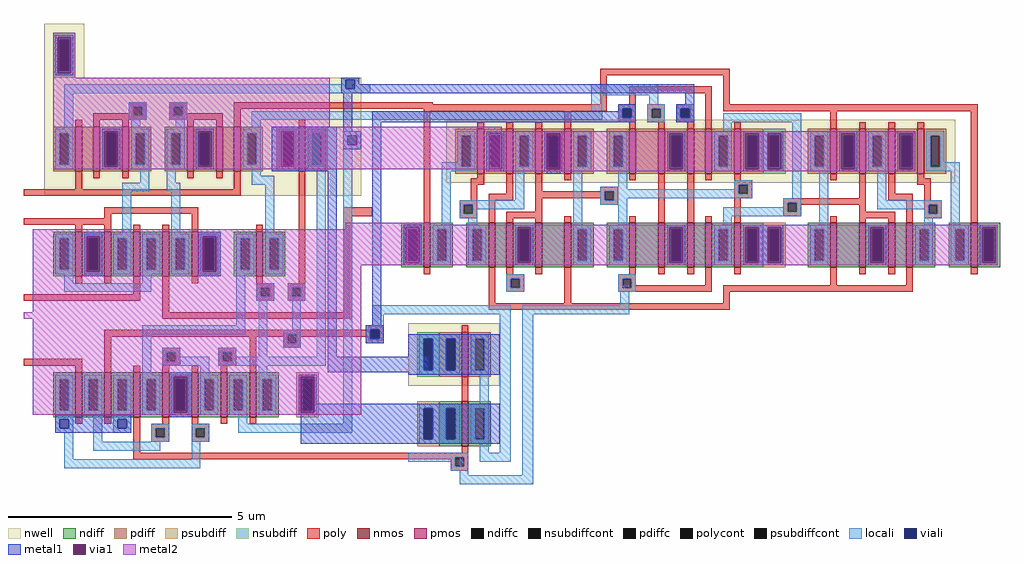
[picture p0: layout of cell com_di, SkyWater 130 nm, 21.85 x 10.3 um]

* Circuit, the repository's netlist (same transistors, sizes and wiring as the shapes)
* NGSPICE file created from com_di.ext - technology: sky130A

.subckt inverter VP A VN Y
X0 Y A VP VP sky130_fd_pr__pfet_01v8 ad=0.5 pd=3 as=0.5 ps=3 w=1 l=0.15
X1 Y A VN VN sky130_fd_pr__nfet_01v8 ad=0.5 pd=3 as=0.5 ps=3 w=1 l=0.15
.ends

.subckt digital w_n140_380# a_890_650# a_n340_0# a_760_650# a_630_650# a_n240_n30#
+ a_630_n110#
X0 a_710_420# a_630_650# a_130_n110# w_n140_380# sky130_fd_pr__pfet_01v8 ad=0.25 pd=1.5 as=0.5 ps=3 w=1 l=0.15
X1 a_1740_420# a_50_n190# a_1870_0# a_n340_0# sky130_fd_pr__nfet_01v8 ad=0.5 pd=3 as=0.125 ps=1.25 w=1 l=0.15
X2 a_n340_0# a_130_n110# a_80_0# a_n340_0# sky130_fd_pr__nfet_01v8 ad=0.25 pd=1.5 as=0.125 ps=1.25 w=1 l=0.15
X3 a_1610_0# a_50_n190# a_1480_0# a_n340_0# sky130_fd_pr__nfet_01v8 ad=0.25 pd=1.5 as=0.5 ps=3 w=1 l=0.15
X4 a_970_420# a_890_650# w_n140_380# w_n140_380# sky130_fd_pr__pfet_01v8 ad=0.125 pd=1.25 as=0.25 ps=1.5 w=1 l=0.15
X5 a_290_0# a_130_n110# a_n340_0# a_n340_0# sky130_fd_pr__nfet_01v8 ad=0.25 pd=1.5 as=0.25 ps=1.5 w=1 l=0.15
X6 w_n140_380# a_760_650# a_710_420# w_n140_380# sky130_fd_pr__pfet_01v8 ad=0.25 pd=1.5 as=0.25 ps=1.5 w=1 l=0.15
X7 a_420_0# a_50_n190# a_290_0# a_n340_0# sky130_fd_pr__nfet_01v8 ad=0.5 pd=3 as=0.25 ps=1.5 w=1 l=0.15
X8 a_80_0# a_50_n190# a_n80_220# a_n340_0# sky130_fd_pr__nfet_01v8 ad=0.125 pd=1.25 as=0.5 ps=3 w=1 l=0.15
X9 w_n140_380# a_130_n110# a_1050_0# w_n140_380# sky130_fd_pr__pfet_01v8 ad=0.5 pd=3 as=0.25 ps=1.5 w=1 l=0.15
X10 w_n140_380# a_n240_n30# a_1480_0# w_n140_380# sky130_fd_pr__pfet_01v8 ad=0.25 pd=1.5 as=0.5 ps=3 w=1 l=0.15
X11 a_n340_0# a_760_650# a_710_0# a_n340_0# sky130_fd_pr__nfet_01v8 ad=0.25 pd=1.5 as=0.25 ps=1.5 w=1 l=0.15
X12 a_1050_0# a_630_n110# a_970_0# a_n340_0# sky130_fd_pr__nfet_01v8 ad=0.25 pd=1.5 as=0.125 ps=1.25 w=1 l=0.15
X13 a_1050_0# a_630_650# a_970_420# w_n140_380# sky130_fd_pr__pfet_01v8 ad=0.25 pd=1.5 as=0.125 ps=1.25 w=1 l=0.15
X14 a_2000_420# a_1740_420# w_n140_380# w_n140_380# sky130_fd_pr__pfet_01v8 ad=0.5 pd=3 as=0.25 ps=1.5 w=1 l=0.15
X15 a_970_0# a_890_650# a_n340_0# a_n340_0# sky130_fd_pr__nfet_01v8 ad=0.125 pd=1.25 as=0.25 ps=1.5 w=1 l=0.15
X16 a_n340_0# a_130_n110# a_1050_0# a_n340_0# sky130_fd_pr__nfet_01v8 ad=0.5 pd=3 as=0.25 ps=1.5 w=1 l=0.15
X17 w_n140_380# a_n80_220# a_n210_0# w_n140_380# sky130_fd_pr__pfet_01v8 ad=0.25 pd=1.5 as=0.5 ps=3 w=1 l=0.15
X18 w_n140_380# a_50_n190# a_1740_420# w_n140_380# sky130_fd_pr__pfet_01v8 ad=0.25 pd=1.5 as=0.25 ps=1.5 w=1 l=0.15
X19 a_n340_0# a_n240_n30# a_2000_420# a_n340_0# sky130_fd_pr__nfet_01v8 ad=0.5 pd=3 as=0.5 ps=3 w=1 l=0.15
X20 a_1740_420# a_1050_0# w_n140_380# w_n140_380# sky130_fd_pr__pfet_01v8 ad=0.25 pd=1.5 as=0.25 ps=1.5 w=1 l=0.15
X21 a_420_0# a_n240_n30# w_n140_380# w_n140_380# sky130_fd_pr__pfet_01v8 ad=0.5 pd=3 as=0.25 ps=1.5 w=1 l=0.15
X22 a_n340_0# a_1050_0# a_1610_0# a_n340_0# sky130_fd_pr__nfet_01v8 ad=0.25 pd=1.5 as=0.25 ps=1.5 w=1 l=0.15
X23 w_n140_380# a_130_n110# a_n80_220# w_n140_380# sky130_fd_pr__pfet_01v8 ad=0.25 pd=1.5 as=0.25 ps=1.5 w=1 l=0.15
X24 a_1870_0# a_1050_0# a_n340_0# a_n340_0# sky130_fd_pr__nfet_01v8 ad=0.125 pd=1.25 as=0.25 ps=1.5 w=1 l=0.15
X25 a_n80_220# a_50_n190# w_n140_380# w_n140_380# sky130_fd_pr__pfet_01v8 ad=0.25 pd=1.5 as=0.25 ps=1.5 w=1 l=0.15
X26 a_710_0# a_630_n110# a_130_n110# a_n340_0# sky130_fd_pr__nfet_01v8 ad=0.25 pd=1.5 as=0.5 ps=3 w=1 l=0.15
X27 a_n210_0# a_n240_n30# a_n340_0# a_n340_0# sky130_fd_pr__nfet_01v8 ad=0.5 pd=3 as=0.5 ps=3 w=1 l=0.15
.ends

.subckt comparator AIn RST ENAD CompOut Vb w_n180_660# a_90_n360# a_n270_660# a_n10_300#
+ a_700_770#
X0 a_40_740# Vb a_n10_300# a_n10_300# sky130_fd_pr__nfet_01v8 ad=0.25 pd=1.5 as=0.25 ps=1.5 w=1 l=0.15
X1 a_n10_300# a_n10_n330# a_250_n330# a_n10_300# sky130_fd_pr__nfet_01v8 ad=0.25 pd=1.5 as=0.25 ps=1.5 w=1 l=0.15
X2 a_700_770# a_600_n100# a_250_n330# a_n10_300# sky130_fd_pr__nfet_01v8 ad=0.5 pd=3 as=0.5 ps=3 w=1 l=0.15
X3 a_n10_770# a_n270_660# CompOut w_n180_660# sky130_fd_pr__pfet_01v8 ad=0.125 pd=1.25 as=0.5 ps=3 w=1 l=0.15
X4 a_600_n100# a_90_n360# w_n180_660# w_n180_660# sky130_fd_pr__pfet_01v8 ad=0.5 pd=3 as=0.5 ps=3 w=1 l=0.15
X5 a_250_n330# ENAD a_n140_n330# a_n10_300# sky130_fd_pr__nfet_01v8 ad=0.25 pd=1.5 as=0.25 ps=1.5 w=1 l=0.15
X6 a_n140_n330# a_90_n360# a_n10_n330# a_n10_300# sky130_fd_pr__nfet_01v8 ad=0.25 pd=1.5 as=0.25 ps=1.5 w=1 l=0.15
X7 a_40_740# a_40_740# w_n180_660# w_n180_660# sky130_fd_pr__pfet_01v8 ad=0.5 pd=3 as=0.25 ps=1.5 w=1 l=0.15
X8 a_600_n100# a_90_n360# CompOut a_n10_300# sky130_fd_pr__nfet_01v8 ad=0.5 pd=3 as=0.25 ps=1.5 w=1 l=0.15
X9 CompOut a_600_n100# a_n10_n330# a_n10_300# sky130_fd_pr__nfet_01v8 ad=0.25 pd=1.5 as=0.25 ps=1.5 w=1 l=0.15
X10 a_620_770# a_360_770# w_n180_660# w_n180_660# sky130_fd_pr__pfet_01v8 ad=0.125 pd=1.25 as=0.25 ps=1.5 w=1 l=0.15
X11 w_n180_660# a_360_770# a_360_770# w_n180_660# sky130_fd_pr__pfet_01v8 ad=0.25 pd=1.5 as=0.5 ps=3 w=1 l=0.15
X12 a_n10_300# Vb a_n140_300# a_n10_300# sky130_fd_pr__nfet_01v8 ad=0.25 pd=1.5 as=0.5 ps=3 w=1 l=0.15
X13 w_n180_660# a_40_740# a_n10_770# w_n180_660# sky130_fd_pr__pfet_01v8 ad=0.25 pd=1.5 as=0.125 ps=1.25 w=1 l=0.15
X14 a_n10_300# Vb a_360_770# a_n10_300# sky130_fd_pr__nfet_01v8 ad=0.5 pd=3 as=0.25 ps=1.5 w=1 l=0.15
X15 a_360_770# a_n270_110# a_n140_300# a_n10_300# sky130_fd_pr__nfet_01v8 ad=0.25 pd=1.5 as=0.25 ps=1.5 w=1 l=0.15
X16 a_n10_n330# RST a_n140_n330# a_n10_300# sky130_fd_pr__nfet_01v8 ad=0.25 pd=1.5 as=0.5 ps=3 w=1 l=0.15
X17 a_700_770# a_n270_660# a_620_770# w_n180_660# sky130_fd_pr__pfet_01v8 ad=0.5 pd=3 as=0.125 ps=1.25 w=1 l=0.15
X18 a_n140_300# AIn a_40_740# a_n10_300# sky130_fd_pr__nfet_01v8 ad=0.25 pd=1.5 as=0.25 ps=1.5 w=1 l=0.15
X19 a_n10_n330# a_n140_n330# a_n10_300# a_n10_300# sky130_fd_pr__nfet_01v8 ad=0.25 pd=1.5 as=0.25 ps=1.5 w=1 l=0.15
.ends


* Top level circuit com_di

Xinverter_0 inverter_0/VP inverter_0/A VSUBS inverter_0/Y inverter
Xdigital_0 inverter_0/VP comparator_0/CompOut VSUBS li_n200_840# inverter_0/Y a_n210_890#
+ inverter_0/A digital
Xcomparator_0 comparator_0/AIn comparator_0/RST inverter_0/A comparator_0/CompOut
+ comparator_0/Vb inverter_0/VP inverter_0/Y a_n210_890# VSUBS li_n200_840# comparator
.end

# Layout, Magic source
magic
tech sky130A
<< poly >>
rect -105 445 60 460
rect 40 440 60 445
rect -145 -340 125 -325
<< locali >>
rect 415 475 565 500
rect 415 440 440 475
rect 545 450 565 475
rect -100 420 440 440
rect 480 5 500 50
rect -75 -15 235 5
rect -75 -50 -50 -15
rect -60 -55 -50 -50
rect 210 -325 235 -15
rect 120 -375 140 -325
rect 185 -345 235 -325
rect 260 -15 500 5
rect 260 -375 285 -15
rect 120 -395 285 -375
<< viali >>
rect 485 425 505 445
rect 615 425 635 445
rect -80 -70 -60 -50
<< metal1 >>
rect -120 480 645 500
rect 625 455 645 480
rect 475 445 515 455
rect 475 440 485 445
rect -75 425 485 440
rect 505 425 515 445
rect -75 415 515 425
rect 605 445 645 455
rect 605 425 615 445
rect 635 425 645 445
rect 605 415 645 425
rect -300 305 -155 405
rect -175 -110 -155 305
rect -75 -40 -55 415
rect 180 305 210 385
rect 315 300 345 390
rect -90 -50 -50 -40
rect -90 -70 -80 -50
rect -60 -70 -50 -50
rect 180 -65 210 -60
rect -90 -80 -50 -70
rect -175 -145 50 -110
rect 195 -150 210 -65
rect -235 -215 -200 -150
rect -235 -305 15 -215
<< metal2 >>
rect -295 310 215 405
rect -135 95 65 190
use comparator  comparator_0
transform 1 0 -720 0 1 -80
box -135 -280 670 715
use digital  digital_0
transform 1 0 160 0 1 90
box -170 -95 1170 445
use inverter  inverter_0
transform 1 0 125 0 1 -310
box -120 -55 85 275
<< end >>

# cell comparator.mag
magic
tech sky130A
<< nwell >>
rect -90 595 0 715
rect -90 330 620 595
<< nmos >>
rect -20 150 -5 250
rect 45 150 60 250
rect 110 150 125 250
rect 175 150 190 250
rect 240 150 255 250
rect 385 150 400 250
rect -20 -165 -5 -65
rect 45 -165 60 -65
rect 110 -165 125 -65
rect 175 -165 190 -65
rect 240 -165 255 -65
rect 305 -165 320 -65
rect 370 -165 385 -65
<< pmos >>
rect -20 385 -5 485
rect 20 385 35 485
rect 85 385 100 485
rect 230 385 245 485
rect 295 385 310 485
rect 335 385 350 485
rect 480 385 495 485
<< ndiff >>
rect -70 235 -20 250
rect -70 165 -55 235
rect -35 165 -20 235
rect -70 150 -20 165
rect -5 235 45 250
rect -5 165 10 235
rect 30 165 45 235
rect -5 150 45 165
rect 60 235 110 250
rect 60 165 75 235
rect 95 165 110 235
rect 60 150 110 165
rect 125 235 175 250
rect 125 165 140 235
rect 160 165 175 235
rect 125 150 175 165
rect 190 235 240 250
rect 190 165 205 235
rect 225 165 240 235
rect 190 150 240 165
rect 255 235 305 250
rect 255 165 270 235
rect 290 165 305 235
rect 255 150 305 165
rect 335 235 385 250
rect 335 165 350 235
rect 370 165 385 235
rect 335 150 385 165
rect 400 235 450 250
rect 400 165 415 235
rect 435 165 450 235
rect 400 150 450 165
rect -70 -80 -20 -65
rect -70 -150 -55 -80
rect -35 -150 -20 -80
rect -70 -165 -20 -150
rect -5 -80 45 -65
rect -5 -150 10 -80
rect 30 -150 45 -80
rect -5 -165 45 -150
rect 60 -80 110 -65
rect 60 -150 75 -80
rect 95 -150 110 -80
rect 60 -165 110 -150
rect 125 -80 175 -65
rect 125 -150 140 -80
rect 160 -150 175 -80
rect 125 -165 175 -150
rect 190 -80 240 -65
rect 190 -150 205 -80
rect 225 -150 240 -80
rect 190 -165 240 -150
rect 255 -80 305 -65
rect 255 -150 270 -80
rect 290 -150 305 -80
rect 255 -165 305 -150
rect 320 -80 370 -65
rect 320 -150 335 -80
rect 355 -150 370 -80
rect 320 -165 370 -150
rect 385 -80 435 -65
rect 385 -150 400 -80
rect 420 -150 435 -80
rect 385 -165 435 -150
<< pdiff >>
rect -70 470 -20 485
rect -70 400 -55 470
rect -35 400 -20 470
rect -70 385 -20 400
rect -5 385 20 485
rect 35 470 85 485
rect 35 400 50 470
rect 70 400 85 470
rect 35 385 85 400
rect 100 470 150 485
rect 100 400 115 470
rect 135 400 150 470
rect 100 385 150 400
rect 180 470 230 485
rect 180 400 195 470
rect 215 400 230 470
rect 180 385 230 400
rect 245 470 295 485
rect 245 400 260 470
rect 280 400 295 470
rect 245 385 295 400
rect 310 385 335 485
rect 350 470 400 485
rect 350 400 365 470
rect 385 400 400 470
rect 350 385 400 400
rect 430 470 480 485
rect 430 400 445 470
rect 465 400 480 470
rect 430 385 480 400
rect 495 470 545 485
rect 495 400 510 470
rect 530 400 545 470
rect 495 385 545 400
<< ndiffc >>
rect -55 165 -35 235
rect 10 165 30 235
rect 75 165 95 235
rect 140 165 160 235
rect 205 165 225 235
rect 270 165 290 235
rect 350 165 370 235
rect 415 165 435 235
rect -55 -150 -35 -80
rect 10 -150 30 -80
rect 75 -150 95 -80
rect 140 -150 160 -80
rect 205 -150 225 -80
rect 270 -150 290 -80
rect 335 -150 355 -80
rect 400 -150 420 -80
<< pdiffc >>
rect -55 400 -35 470
rect 50 400 70 470
rect 115 400 135 470
rect 195 400 215 470
rect 260 400 280 470
rect 365 400 385 470
rect 445 400 465 470
rect 510 400 530 470
<< psubdiff >>
rect 475 -80 525 -65
rect 475 -150 490 -80
rect 510 -150 525 -80
rect 475 -165 525 -150
<< nsubdiff >>
rect -70 680 -20 695
rect -70 610 -55 680
rect -35 610 -20 680
rect -70 595 -20 610
<< psubdiffcont >>
rect 490 -150 510 -80
<< nsubdiffcont >>
rect -55 610 -35 680
<< poly >>
rect 100 530 140 540
rect 100 515 110 530
rect 20 510 110 515
rect 130 510 140 530
rect 20 500 140 510
rect 190 530 230 540
rect 190 510 200 530
rect 220 515 230 530
rect 335 525 640 540
rect 220 510 310 515
rect 190 500 310 510
rect -20 485 -5 500
rect 20 485 35 500
rect 85 485 100 500
rect 230 485 245 500
rect 295 485 310 500
rect 335 485 350 525
rect 480 485 495 500
rect -20 345 -5 385
rect 20 370 35 385
rect 85 370 100 385
rect 230 370 245 385
rect 295 370 310 385
rect 335 345 350 385
rect -135 330 350 345
rect 45 290 255 305
rect 45 280 60 290
rect -135 265 60 280
rect -20 250 -5 265
rect 45 250 60 265
rect 110 250 125 265
rect 175 250 190 265
rect 240 250 255 290
rect 385 250 400 265
rect -20 135 -5 150
rect 45 135 60 150
rect 110 110 125 150
rect -135 95 125 110
rect 175 70 190 150
rect 240 135 255 150
rect 385 135 400 150
rect 480 135 495 385
rect 385 125 425 135
rect 385 105 395 125
rect 415 105 425 125
rect 385 95 425 105
rect 455 125 495 135
rect 455 105 465 125
rect 485 105 495 125
rect 455 95 495 105
rect 580 285 645 305
rect 580 70 600 285
rect 175 55 600 70
rect 630 30 670 40
rect 45 20 640 30
rect 45 15 455 20
rect -135 -50 -5 -35
rect -20 -65 -5 -50
rect 45 -65 60 15
rect 175 -20 215 -10
rect 175 -40 185 -20
rect 205 -40 215 -20
rect 175 -50 215 -40
rect 300 -20 340 -10
rect 300 -40 310 -20
rect 330 -40 340 -20
rect 300 -50 340 -40
rect 110 -65 125 -50
rect 175 -65 190 -50
rect 240 -65 255 -50
rect 305 -65 320 -50
rect 370 -65 385 15
rect 445 0 455 15
rect 475 15 640 20
rect 475 0 485 15
rect 630 10 640 15
rect 660 10 670 30
rect 630 0 670 10
rect 445 -10 485 0
rect -20 -180 -5 -165
rect 45 -180 60 -165
rect 110 -245 125 -165
rect 175 -180 190 -165
rect 150 -190 190 -180
rect 150 -210 160 -190
rect 180 -210 190 -190
rect 150 -220 190 -210
rect 240 -180 255 -165
rect 305 -180 320 -165
rect 370 -180 385 -165
rect 240 -190 280 -180
rect 240 -210 250 -190
rect 270 -210 280 -190
rect 240 -220 280 -210
rect 110 -260 645 -245
<< polycont >>
rect 110 510 130 530
rect 200 510 220 530
rect 395 105 415 125
rect 465 105 485 125
rect 185 -40 205 -20
rect 310 -40 330 -20
rect 455 0 475 20
rect 640 10 660 30
rect 160 -210 180 -190
rect 250 -210 270 -190
<< locali >>
rect -65 680 -25 690
rect -65 610 -55 680
rect -35 610 -25 680
rect -65 600 -25 610
rect 575 590 615 595
rect 575 580 585 590
rect -45 570 585 580
rect 605 580 615 590
rect 605 570 640 580
rect -45 560 640 570
rect -45 480 -25 560
rect 100 530 140 540
rect 100 510 110 530
rect 130 510 140 530
rect 100 500 140 510
rect 190 530 230 540
rect 190 510 200 530
rect 220 510 230 530
rect 190 500 230 510
rect 375 500 640 520
rect 105 480 125 500
rect 205 480 225 500
rect 375 480 395 500
rect -65 470 -25 480
rect -65 400 -55 470
rect -35 400 -25 470
rect -65 390 -25 400
rect 40 470 80 480
rect 40 400 50 470
rect 70 400 80 470
rect 40 390 80 400
rect 105 470 145 480
rect 105 400 115 470
rect 135 400 145 470
rect 105 390 145 400
rect 125 360 145 390
rect 85 340 145 360
rect 185 470 225 480
rect 185 400 195 470
rect 215 400 225 470
rect 185 390 225 400
rect 250 470 290 480
rect 250 400 260 470
rect 280 400 290 470
rect 250 390 290 400
rect 355 470 395 480
rect 355 400 365 470
rect 385 400 395 470
rect 355 390 395 400
rect 435 470 475 480
rect 435 400 445 470
rect 465 400 475 470
rect 435 390 475 400
rect 500 470 540 480
rect 500 400 510 470
rect 530 400 540 470
rect 500 390 540 400
rect 185 360 205 390
rect 375 375 395 390
rect 185 340 215 360
rect 375 355 425 375
rect 85 245 105 340
rect 195 245 215 340
rect 405 245 425 355
rect -65 235 -25 245
rect -65 165 -55 235
rect -35 165 -25 235
rect -65 155 -25 165
rect 0 235 40 245
rect 0 165 10 235
rect 30 165 40 235
rect 0 155 40 165
rect 65 235 105 245
rect 65 165 75 235
rect 95 165 105 235
rect 65 155 105 165
rect 130 235 170 245
rect 130 165 140 235
rect 160 165 170 235
rect 130 155 170 165
rect 195 235 235 245
rect 195 165 205 235
rect 225 165 235 235
rect 195 155 235 165
rect 260 235 300 245
rect 260 165 270 235
rect 290 165 300 235
rect 260 155 300 165
rect 340 235 380 245
rect 340 165 350 235
rect 370 165 380 235
rect 340 155 380 165
rect 405 235 445 245
rect 405 165 415 235
rect 435 165 445 235
rect 405 155 445 165
rect -45 135 -25 155
rect 130 135 150 155
rect -45 115 150 135
rect 340 40 360 155
rect 385 125 425 135
rect 385 105 395 125
rect 415 105 425 125
rect 385 95 425 105
rect 455 125 495 135
rect 455 105 465 125
rect 485 105 495 125
rect 455 95 495 105
rect 130 20 360 40
rect 130 -70 150 20
rect 175 -20 215 -10
rect 175 -40 185 -20
rect 205 -30 215 -20
rect 300 -20 340 -10
rect 205 -40 280 -30
rect 175 -50 280 -40
rect 300 -40 310 -20
rect 330 -30 340 -20
rect 390 -30 410 95
rect 465 30 485 95
rect 445 20 485 30
rect 445 0 455 20
rect 475 0 485 20
rect 445 -10 485 0
rect 520 -30 540 390
rect 330 -40 540 -30
rect 300 -50 540 -40
rect 580 465 620 475
rect 580 445 590 465
rect 610 445 620 465
rect 580 435 620 445
rect 260 -70 280 -50
rect 390 -70 410 -50
rect -65 -80 -25 -70
rect -65 -150 -55 -80
rect -35 -150 -25 -80
rect -65 -170 -25 -150
rect 0 -80 40 -70
rect 0 -150 10 -80
rect 30 -150 40 -80
rect 0 -160 40 -150
rect -65 -190 -55 -170
rect -35 -190 -25 -170
rect -65 -200 -25 -190
rect -45 -260 -25 -200
rect 20 -220 40 -160
rect 65 -80 105 -70
rect 65 -150 75 -80
rect 95 -150 105 -80
rect 65 -170 105 -150
rect 130 -80 170 -70
rect 130 -150 140 -80
rect 160 -150 170 -80
rect 130 -160 170 -150
rect 195 -80 235 -70
rect 195 -150 205 -80
rect 225 -150 235 -80
rect 195 -160 235 -150
rect 260 -80 300 -70
rect 260 -150 270 -80
rect 290 -150 300 -80
rect 260 -160 300 -150
rect 325 -80 365 -70
rect 325 -150 335 -80
rect 355 -150 365 -80
rect 325 -160 365 -150
rect 390 -80 430 -70
rect 390 -150 400 -80
rect 420 -150 430 -80
rect 390 -160 430 -150
rect 480 -80 520 -70
rect 480 -150 490 -80
rect 510 -150 520 -80
rect 480 -160 520 -150
rect 65 -190 75 -170
rect 95 -190 105 -170
rect 345 -180 365 -160
rect 580 -180 600 435
rect 630 30 670 40
rect 630 10 640 30
rect 660 10 670 30
rect 630 0 670 10
rect 65 -200 105 -190
rect 150 -190 190 -180
rect 150 -210 160 -190
rect 180 -210 190 -190
rect 150 -220 190 -210
rect 240 -190 280 -180
rect 240 -210 250 -190
rect 270 -210 280 -190
rect 345 -200 600 -180
rect 240 -220 280 -210
rect 20 -240 170 -220
rect 240 -260 260 -220
rect -45 -280 260 -260
<< viali >>
rect -55 610 -35 680
rect 585 570 605 590
rect 50 400 70 470
rect 260 400 280 470
rect 445 400 465 470
rect 10 165 30 235
rect 270 165 290 235
rect 590 445 610 465
rect -55 -190 -35 -170
rect 205 -150 225 -80
rect 490 -150 510 -80
rect 75 -190 95 -170
<< metal1 >>
rect -65 685 -25 690
rect -65 605 -60 685
rect -30 605 -25 685
rect -65 600 -25 605
rect 575 590 615 595
rect 575 570 585 590
rect 605 570 615 590
rect 575 560 615 570
rect 40 475 80 480
rect 40 395 45 475
rect 75 395 80 475
rect 40 390 80 395
rect 250 475 290 480
rect 250 395 255 475
rect 285 395 290 475
rect 250 390 290 395
rect 435 475 475 480
rect 435 395 440 475
rect 470 395 475 475
rect 580 475 600 560
rect 580 465 620 475
rect 580 445 590 465
rect 610 445 620 465
rect 580 435 620 445
rect 435 390 475 395
rect 0 240 40 250
rect 0 160 5 240
rect 35 160 40 240
rect 0 150 40 160
rect 255 240 305 250
rect 255 160 265 240
rect 295 160 305 240
rect 255 150 305 160
rect 190 -75 240 -65
rect 190 -155 200 -75
rect 230 -155 240 -75
rect -65 -170 105 -160
rect 190 -165 240 -155
rect 480 -75 520 -70
rect 480 -155 485 -75
rect 515 -155 520 -75
rect 480 -160 520 -155
rect -65 -190 -55 -170
rect -35 -190 75 -170
rect 95 -190 105 -170
rect -65 -200 105 -190
<< via1 >>
rect -60 680 -30 685
rect -60 610 -55 680
rect -55 610 -35 680
rect -35 610 -30 680
rect -60 605 -30 610
rect 45 470 75 475
rect 45 400 50 470
rect 50 400 70 470
rect 70 400 75 470
rect 45 395 75 400
rect 255 470 285 475
rect 255 400 260 470
rect 260 400 280 470
rect 280 400 285 470
rect 255 395 285 400
rect 440 470 470 475
rect 440 400 445 470
rect 445 400 465 470
rect 465 400 470 470
rect 440 395 470 400
rect 5 235 35 240
rect 5 165 10 235
rect 10 165 30 235
rect 30 165 35 235
rect 5 160 35 165
rect 265 235 295 240
rect 265 165 270 235
rect 270 165 290 235
rect 290 165 295 235
rect 265 160 295 165
rect 200 -80 230 -75
rect 200 -150 205 -80
rect 205 -150 225 -80
rect 225 -150 230 -80
rect 200 -155 230 -150
rect 485 -80 515 -75
rect 485 -150 490 -80
rect 490 -150 510 -80
rect 510 -150 515 -80
rect 485 -155 515 -150
<< metal2 >>
rect -70 685 -20 695
rect -70 605 -60 685
rect -30 605 -20 685
rect -70 595 -20 605
rect -70 480 550 595
rect -70 475 545 480
rect -70 395 45 475
rect 75 395 255 475
rect 285 395 440 475
rect 470 395 545 475
rect -70 390 545 395
rect -115 240 620 255
rect -115 160 5 240
rect 35 160 265 240
rect 295 160 620 240
rect -115 70 620 160
rect -135 55 620 70
rect -115 -75 620 55
rect -115 -155 200 -75
rect 230 -155 485 -75
rect 515 -155 620 -75
rect -115 -160 620 -155
<< labels >>
rlabel poly -135 100 -135 100 7 AIn
port 1 w
rlabel poly -135 -45 -135 -45 7 RST
port 2 w
rlabel poly 645 -255 645 -255 3 ENAD
port 3 e
rlabel locali 640 570 640 570 3 CompOut
port 6 e
rlabel poly -135 270 -135 270 7 Vb
port 7 w
<< end >>

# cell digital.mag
magic
tech sky130A
<< nwell >>
rect -70 190 1070 330
<< nmos >>
rect -120 0 -105 100
rect 25 0 40 100
rect 65 0 80 100
rect 130 0 145 100
rect 195 0 210 100
rect 340 0 355 100
rect 405 0 420 100
rect 470 0 485 100
rect 510 0 525 100
rect 575 0 590 100
rect 790 0 805 100
rect 855 0 870 100
rect 920 0 935 100
rect 960 0 975 100
rect 1105 0 1120 100
<< pmos >>
rect 0 210 15 310
rect 65 210 80 310
rect 130 210 145 310
rect 195 210 210 310
rect 340 210 355 310
rect 405 210 420 310
rect 470 210 485 310
rect 510 210 525 310
rect 575 210 590 310
rect 790 210 805 310
rect 855 210 870 310
rect 920 210 935 310
rect 985 210 1000 310
<< ndiff >>
rect -170 85 -120 100
rect -170 15 -155 85
rect -135 15 -120 85
rect -170 0 -120 15
rect -105 85 -55 100
rect -105 15 -90 85
rect -70 15 -55 85
rect -105 0 -55 15
rect -25 85 25 100
rect -25 15 -10 85
rect 10 15 25 85
rect -25 0 25 15
rect 40 0 65 100
rect 80 85 130 100
rect 80 15 95 85
rect 115 15 130 85
rect 80 0 130 15
rect 145 0 195 100
rect 210 85 260 100
rect 210 15 225 85
rect 245 15 260 85
rect 210 0 260 15
rect 290 85 340 100
rect 290 15 305 85
rect 325 15 340 85
rect 290 0 340 15
rect 355 0 405 100
rect 420 85 470 100
rect 420 15 435 85
rect 455 15 470 85
rect 420 0 470 15
rect 485 0 510 100
rect 525 85 575 100
rect 525 15 540 85
rect 560 15 575 85
rect 525 0 575 15
rect 590 85 640 100
rect 590 15 605 85
rect 625 15 640 85
rect 590 0 640 15
rect 740 85 790 100
rect 740 15 755 85
rect 775 15 790 85
rect 740 0 790 15
rect 805 0 855 100
rect 870 85 920 100
rect 870 15 885 85
rect 905 15 920 85
rect 870 0 920 15
rect 935 0 960 100
rect 975 85 1025 100
rect 975 15 990 85
rect 1010 15 1025 85
rect 975 0 1025 15
rect 1055 85 1105 100
rect 1055 15 1070 85
rect 1090 15 1105 85
rect 1055 0 1105 15
rect 1120 85 1170 100
rect 1120 15 1135 85
rect 1155 15 1170 85
rect 1120 0 1170 15
<< pdiff >>
rect -50 295 0 310
rect -50 225 -35 295
rect -15 225 0 295
rect -50 210 0 225
rect 15 295 65 310
rect 15 225 30 295
rect 50 225 65 295
rect 15 210 65 225
rect 80 295 130 310
rect 80 225 95 295
rect 115 225 130 295
rect 80 210 130 225
rect 145 295 195 310
rect 145 225 160 295
rect 180 225 195 295
rect 145 210 195 225
rect 210 295 260 310
rect 210 225 225 295
rect 245 225 260 295
rect 210 210 260 225
rect 290 295 340 310
rect 290 225 305 295
rect 325 225 340 295
rect 290 210 340 225
rect 355 210 405 310
rect 420 295 470 310
rect 420 225 435 295
rect 455 225 470 295
rect 420 210 470 225
rect 485 210 510 310
rect 525 295 575 310
rect 525 225 540 295
rect 560 225 575 295
rect 525 210 575 225
rect 590 295 640 310
rect 590 225 605 295
rect 625 225 640 295
rect 590 210 640 225
rect 740 295 790 310
rect 740 225 755 295
rect 775 225 790 295
rect 740 210 790 225
rect 805 295 855 310
rect 805 225 820 295
rect 840 225 855 295
rect 805 210 855 225
rect 870 295 920 310
rect 870 225 885 295
rect 905 225 920 295
rect 870 210 920 225
rect 935 295 985 310
rect 935 225 950 295
rect 970 225 985 295
rect 935 210 985 225
rect 1000 295 1050 310
rect 1000 225 1015 295
rect 1035 225 1050 295
rect 1000 210 1050 225
<< ndiffc >>
rect -155 15 -135 85
rect -90 15 -70 85
rect -10 15 10 85
rect 95 15 115 85
rect 225 15 245 85
rect 305 15 325 85
rect 435 15 455 85
rect 540 15 560 85
rect 605 15 625 85
rect 755 15 775 85
rect 885 15 905 85
rect 990 15 1010 85
rect 1070 15 1090 85
rect 1135 15 1155 85
<< pdiffc >>
rect -35 225 -15 295
rect 30 225 50 295
rect 95 225 115 295
rect 160 225 180 295
rect 225 225 245 295
rect 305 225 325 295
rect 435 225 455 295
rect 540 225 560 295
rect 605 225 625 295
rect 755 225 775 295
rect 820 225 840 295
rect 885 225 905 295
rect 950 225 970 295
rect 1015 225 1035 295
<< psubdiff >>
rect 640 85 690 100
rect 640 15 655 85
rect 675 15 690 85
rect 640 0 690 15
<< nsubdiff >>
rect 640 295 690 310
rect 640 225 655 295
rect 675 225 690 295
rect 640 210 690 225
<< psubdiffcont >>
rect 655 15 675 85
<< nsubdiffcont >>
rect 655 225 675 295
<< poly >>
rect 275 430 565 445
rect 275 365 290 430
rect 340 390 525 405
rect 340 365 355 390
rect -120 350 290 365
rect 315 355 355 365
rect -120 100 -105 350
rect 0 310 15 325
rect 65 310 80 325
rect 130 310 145 325
rect 195 310 210 350
rect 315 335 325 355
rect 345 335 355 355
rect 315 325 355 335
rect 380 355 420 365
rect 380 335 390 355
rect 410 335 420 355
rect 380 325 420 335
rect 445 355 485 365
rect 445 335 455 355
rect 475 335 485 355
rect 445 325 485 335
rect 340 310 355 325
rect 405 310 420 325
rect 470 310 485 325
rect 510 310 525 390
rect 550 365 565 430
rect 550 350 1120 365
rect 575 310 590 325
rect 790 310 805 350
rect 855 310 870 325
rect 920 310 935 325
rect 985 310 1000 325
rect 0 200 15 210
rect -15 185 15 200
rect -15 150 0 185
rect 65 165 80 210
rect -40 140 0 150
rect -40 120 -30 140
rect -10 120 0 140
rect -40 110 0 120
rect 25 150 80 165
rect 130 170 145 210
rect 195 195 210 210
rect 340 195 355 210
rect 275 170 315 180
rect 130 155 285 170
rect 25 100 40 150
rect 130 125 145 155
rect 275 150 285 155
rect 305 150 315 170
rect 275 140 315 150
rect 65 110 145 125
rect 65 100 80 110
rect 130 100 145 110
rect 195 100 210 115
rect 340 100 355 115
rect 405 100 420 210
rect 470 100 485 210
rect 510 195 525 210
rect 575 195 590 210
rect 790 195 805 210
rect 575 185 615 195
rect 575 165 585 185
rect 605 165 615 185
rect 575 155 615 165
rect 855 155 870 210
rect 510 100 525 115
rect 575 100 590 155
rect 685 145 870 155
rect 920 165 935 210
rect 985 200 1000 210
rect 985 185 1015 200
rect 920 150 975 165
rect 685 125 695 145
rect 715 140 870 145
rect 715 125 725 140
rect 685 115 725 125
rect 855 125 870 140
rect 790 100 805 115
rect 855 110 935 125
rect 855 100 870 110
rect 920 100 935 110
rect 960 100 975 150
rect 1000 150 1015 185
rect 1000 140 1040 150
rect 1000 120 1010 140
rect 1030 120 1040 140
rect 1000 110 1040 120
rect 1105 100 1120 350
rect -120 -15 -105 0
rect 25 -80 40 0
rect 65 -15 80 0
rect 130 -15 145 0
rect 65 -25 105 -15
rect 65 -45 75 -25
rect 95 -45 105 -25
rect 65 -55 105 -45
rect 195 -80 210 0
rect 340 -15 355 0
rect 405 -15 420 0
rect 470 -15 485 0
rect 315 -25 355 -15
rect 315 -45 325 -25
rect 345 -40 355 -25
rect 510 -40 525 0
rect 575 -15 590 0
rect 790 -40 805 0
rect 855 -15 870 0
rect 920 -15 935 0
rect 960 -40 975 0
rect 1105 -15 1120 0
rect 345 -45 525 -40
rect 315 -55 525 -45
rect 550 -55 975 -40
rect 550 -80 565 -55
rect 25 -95 565 -80
<< polycont >>
rect 325 335 345 355
rect 390 335 410 355
rect 455 335 475 355
rect -30 120 -10 140
rect 285 150 305 170
rect 585 165 605 185
rect 695 125 715 145
rect 1010 120 1030 140
rect 75 -45 95 -25
rect 325 -45 345 -25
<< locali >>
rect 315 355 355 365
rect 315 335 325 355
rect 345 335 355 355
rect 315 325 355 335
rect 380 355 420 365
rect 380 335 390 355
rect 410 335 420 355
rect 380 325 420 335
rect 445 355 485 365
rect 445 335 455 355
rect 475 335 485 355
rect 445 325 485 335
rect 550 325 725 345
rect 550 305 570 325
rect -45 295 -5 305
rect -45 235 -35 295
rect -80 225 -35 235
rect -15 225 -5 295
rect -80 215 -5 225
rect 20 295 60 305
rect 20 225 30 295
rect 50 225 60 295
rect 20 215 60 225
rect 85 295 125 305
rect 85 225 95 295
rect 115 225 125 295
rect 85 215 125 225
rect 150 295 190 305
rect 150 225 160 295
rect 180 225 190 295
rect 150 215 190 225
rect 215 295 255 305
rect 215 225 225 295
rect 245 225 255 295
rect 215 215 255 225
rect 295 295 335 305
rect 295 225 305 295
rect 325 225 335 295
rect 295 215 335 225
rect 425 295 465 305
rect 425 225 435 295
rect 455 225 465 295
rect 425 215 465 225
rect 530 295 570 305
rect 530 225 540 295
rect 560 225 570 295
rect 530 215 570 225
rect 595 295 685 305
rect 595 225 605 295
rect 625 225 655 295
rect 675 225 685 295
rect 595 215 685 225
rect -80 95 -60 215
rect 85 150 105 215
rect -40 140 105 150
rect -40 120 -30 140
rect -10 130 105 140
rect -10 120 0 130
rect -40 110 0 120
rect -165 85 -125 95
rect -165 15 -155 85
rect -135 15 -125 85
rect -165 5 -125 15
rect -100 85 -60 95
rect -100 15 -90 85
rect -70 15 -60 85
rect -100 5 -60 15
rect -20 95 0 110
rect 215 95 235 215
rect 315 180 335 215
rect 275 175 335 180
rect 575 185 615 195
rect 575 175 585 185
rect 275 170 585 175
rect 275 150 285 170
rect 305 165 585 170
rect 605 165 615 185
rect 305 155 615 165
rect 705 155 725 325
rect 745 295 785 305
rect 745 225 755 295
rect 775 225 785 295
rect 745 215 785 225
rect 810 295 850 305
rect 810 225 820 295
rect 840 225 850 295
rect 810 215 850 225
rect 875 295 915 305
rect 875 225 885 295
rect 905 225 915 295
rect 875 215 915 225
rect 940 295 980 305
rect 940 225 950 295
rect 970 225 980 295
rect 940 215 980 225
rect 1005 295 1045 305
rect 1005 225 1015 295
rect 1035 235 1045 295
rect 1035 225 1080 235
rect 1005 215 1080 225
rect 305 150 335 155
rect 275 140 335 150
rect 315 95 335 140
rect 685 145 725 155
rect 685 135 695 145
rect 550 125 695 135
rect 715 125 725 145
rect 550 115 725 125
rect 550 95 570 115
rect 765 95 785 215
rect 895 150 915 215
rect 895 140 1040 150
rect 895 130 1010 140
rect 1000 120 1010 130
rect 1030 120 1040 140
rect 1000 110 1040 120
rect 1000 95 1020 110
rect -20 85 20 95
rect -20 15 -10 85
rect 10 15 20 85
rect -20 5 20 15
rect 85 85 125 95
rect 85 15 95 85
rect 115 15 125 85
rect 85 5 125 15
rect 215 85 255 95
rect 215 15 225 85
rect 245 15 255 85
rect 215 5 255 15
rect 295 85 335 95
rect 295 15 305 85
rect 325 15 335 85
rect 295 5 335 15
rect 425 85 465 95
rect 425 15 435 85
rect 455 15 465 85
rect 425 5 465 15
rect 530 85 570 95
rect 530 15 540 85
rect 560 15 570 85
rect 530 5 570 15
rect 595 85 685 95
rect 595 15 605 85
rect 625 15 655 85
rect 675 15 685 85
rect 595 5 685 15
rect 745 85 785 95
rect 745 15 755 85
rect 775 15 785 85
rect 745 5 785 15
rect 875 85 915 95
rect 875 15 885 85
rect 905 15 915 85
rect 875 5 915 15
rect 980 85 1020 95
rect 980 15 990 85
rect 1010 15 1020 85
rect 980 5 1020 15
rect 1060 95 1080 215
rect 1060 85 1100 95
rect 1060 15 1070 85
rect 1090 15 1100 85
rect 1060 5 1100 15
rect 1125 85 1165 95
rect 1125 15 1135 85
rect 1155 15 1165 85
rect 1125 5 1165 15
rect 65 -25 105 -15
rect 65 -45 75 -25
rect 95 -45 105 -25
rect 65 -55 105 -45
rect 315 -25 355 -15
rect 315 -45 325 -25
rect 345 -45 355 -25
rect 315 -55 355 -45
<< viali >>
rect 30 225 50 295
rect 160 225 180 295
rect 435 225 455 295
rect 605 225 625 295
rect 655 225 675 295
rect -155 15 -135 85
rect 820 225 840 295
rect 950 225 970 295
rect 95 15 115 85
rect 435 15 455 85
rect 605 15 625 85
rect 655 15 675 85
rect 885 15 905 85
rect 1135 15 1155 85
<< metal1 >>
rect 20 300 60 305
rect 20 220 25 300
rect 55 220 60 300
rect 20 215 60 220
rect 150 300 190 305
rect 150 220 155 300
rect 185 220 190 300
rect 150 215 190 220
rect 425 300 465 305
rect 425 220 430 300
rect 460 220 465 300
rect 425 215 465 220
rect 595 300 685 305
rect 595 220 600 300
rect 630 220 650 300
rect 680 220 685 300
rect 595 215 685 220
rect 810 300 850 305
rect 810 220 815 300
rect 845 220 850 300
rect 810 215 850 220
rect 940 300 980 305
rect 940 220 945 300
rect 975 220 980 300
rect 940 215 980 220
rect -165 90 -125 95
rect -165 10 -160 90
rect -130 10 -125 90
rect -165 5 -125 10
rect 85 90 125 95
rect 85 10 90 90
rect 120 10 125 90
rect 85 5 125 10
rect 425 90 465 95
rect 425 10 430 90
rect 460 10 465 90
rect 425 5 465 10
rect 595 90 685 95
rect 595 10 600 90
rect 630 10 650 90
rect 680 10 685 90
rect 595 5 685 10
rect 875 90 915 95
rect 875 10 880 90
rect 910 10 915 90
rect 875 5 915 10
rect 1125 90 1165 95
rect 1125 10 1130 90
rect 1160 10 1165 90
rect 1125 5 1165 10
<< via1 >>
rect 25 295 55 300
rect 25 225 30 295
rect 30 225 50 295
rect 50 225 55 295
rect 25 220 55 225
rect 155 295 185 300
rect 155 225 160 295
rect 160 225 180 295
rect 180 225 185 295
rect 155 220 185 225
rect 430 295 460 300
rect 430 225 435 295
rect 435 225 455 295
rect 455 225 460 295
rect 430 220 460 225
rect 600 295 630 300
rect 600 225 605 295
rect 605 225 625 295
rect 625 225 630 295
rect 600 220 630 225
rect 650 295 680 300
rect 650 225 655 295
rect 655 225 675 295
rect 675 225 680 295
rect 650 220 680 225
rect 815 295 845 300
rect 815 225 820 295
rect 820 225 840 295
rect 840 225 845 295
rect 815 220 845 225
rect 945 295 975 300
rect 945 225 950 295
rect 950 225 970 295
rect 970 225 975 295
rect 945 220 975 225
rect -160 85 -130 90
rect -160 15 -155 85
rect -155 15 -135 85
rect -135 15 -130 85
rect -160 10 -130 15
rect 90 85 120 90
rect 90 15 95 85
rect 95 15 115 85
rect 115 15 120 85
rect 90 10 120 15
rect 430 85 460 90
rect 430 15 435 85
rect 435 15 455 85
rect 455 15 460 85
rect 430 10 460 15
rect 600 85 630 90
rect 600 15 605 85
rect 605 15 625 85
rect 625 15 630 85
rect 600 10 630 15
rect 650 85 680 90
rect 650 15 655 85
rect 655 15 675 85
rect 675 15 680 85
rect 650 10 680 15
rect 880 85 910 90
rect 880 15 885 85
rect 885 15 905 85
rect 905 15 910 85
rect 880 10 910 15
rect 1130 85 1160 90
rect 1130 15 1135 85
rect 1135 15 1155 85
rect 1155 15 1160 85
rect 1130 10 1160 15
<< metal2 >>
rect 20 300 980 305
rect 20 220 25 300
rect 55 220 155 300
rect 185 220 430 300
rect 460 220 600 300
rect 630 220 650 300
rect 680 220 815 300
rect 845 220 945 300
rect 975 220 980 300
rect 20 215 980 220
rect -165 90 1165 95
rect -165 10 -160 90
rect -130 10 90 90
rect 120 10 430 90
rect 460 10 600 90
rect 630 10 650 90
rect 680 10 880 90
rect 910 10 1130 90
rect 1160 10 1165 90
rect -165 5 1165 10
<< end >>

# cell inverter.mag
magic
tech sky130A
<< nwell >>
rect -120 135 85 275
<< nmos >>
rect 0 0 15 100
<< pmos >>
rect 0 155 15 255
<< ndiff >>
rect -50 85 0 100
rect -50 15 -35 85
rect -15 15 0 85
rect -50 0 0 15
rect 15 85 65 100
rect 15 15 30 85
rect 50 15 65 85
rect 15 0 65 15
<< pdiff >>
rect -50 240 0 255
rect -50 170 -35 240
rect -15 170 0 240
rect -50 155 0 170
rect 15 240 65 255
rect 15 170 30 240
rect 50 170 65 240
rect 15 155 65 170
<< ndiffc >>
rect -35 15 -15 85
rect 30 15 50 85
<< pdiffc >>
rect -35 170 -15 240
rect 30 170 50 240
<< psubdiff >>
rect -100 85 -50 100
rect -100 15 -85 85
rect -65 15 -50 85
rect -100 0 -50 15
<< nsubdiff >>
rect -100 240 -50 255
rect -100 170 -85 240
rect -65 170 -50 240
rect -100 155 -50 170
<< psubdiffcont >>
rect -85 15 -65 85
<< nsubdiffcont >>
rect -85 170 -65 240
<< poly >>
rect 0 255 15 270
rect 0 100 15 155
rect 0 -15 15 0
rect -25 -25 15 -15
rect -25 -45 -15 -25
rect 5 -45 15 -25
rect -25 -55 15 -45
<< polycont >>
rect -15 -45 5 -25
<< locali >>
rect -95 240 -5 250
rect -95 170 -85 240
rect -65 170 -35 240
rect -15 170 -5 240
rect -95 160 -5 170
rect 20 240 60 250
rect 20 170 30 240
rect 50 170 60 240
rect 20 160 60 170
rect 40 95 60 160
rect -95 85 -5 95
rect -95 15 -85 85
rect -65 15 -35 85
rect -15 15 -5 85
rect -95 5 -5 15
rect 20 85 60 95
rect 20 15 30 85
rect 50 15 60 85
rect 20 5 60 15
rect 40 -15 60 5
rect -120 -25 15 -15
rect -120 -35 -15 -25
rect -25 -45 -15 -35
rect 5 -45 15 -25
rect 40 -35 85 -15
rect -25 -55 15 -45
<< viali >>
rect -85 170 -65 240
rect -35 170 -15 240
rect -85 15 -65 85
rect -35 15 -15 85
<< metal1 >>
rect -120 240 85 250
rect -120 170 -85 240
rect -65 170 -35 240
rect -15 170 85 240
rect -120 160 85 170
rect -120 85 85 95
rect -120 15 -85 85
rect -65 15 -35 85
rect -15 15 85 85
rect -120 5 85 15
<< labels >>
rlabel locali -120 -25 -120 -25 7 A
rlabel locali 85 -25 85 -25 3 Y
rlabel metal1 -120 50 -120 50 7 VN
rlabel metal1 -120 205 -120 205 7 VP
<< end >>
